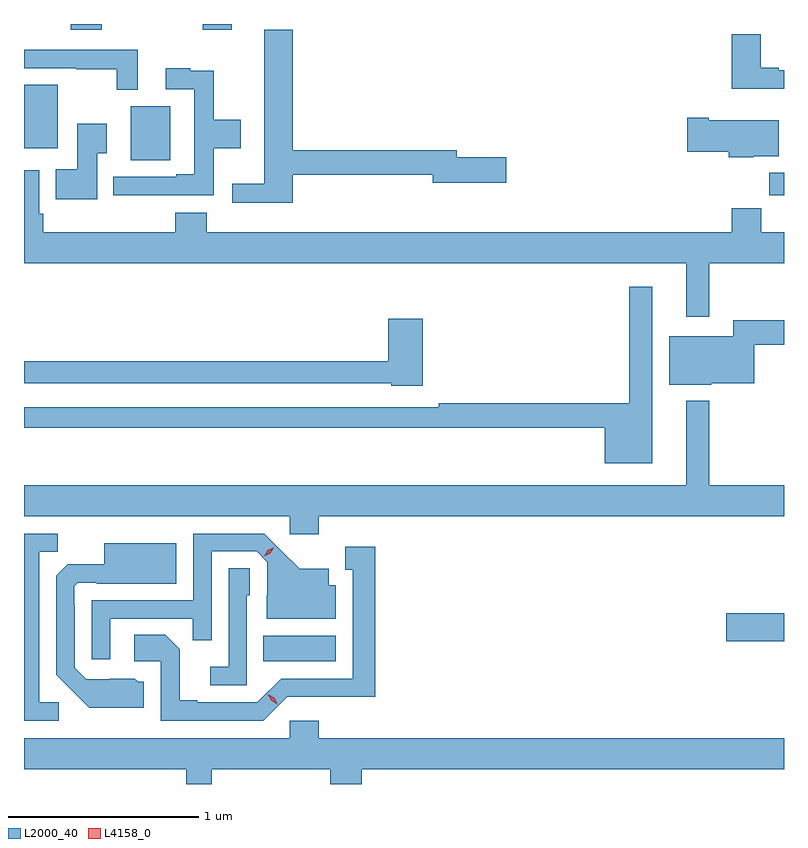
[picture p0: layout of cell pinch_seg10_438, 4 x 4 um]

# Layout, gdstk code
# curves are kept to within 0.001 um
import gdstk
lib = gdstk.Library(unit=1e-6, precision=1e-09)
def R(c, l, rs):  # rectangles x0, y0, x1, y1
    for r in rs: c.add(gdstk.rectangle(r[:2], r[2:], *l))
def P(c, l, *ps):  # polygons
    for p in ps: c.add(gdstk.Polygon(p, *l))
L2000_40 = (2000, 40)
L4158_0 = (4158, 0)

pinch_seg10_438 = lib.new_cell('pinch_seg10_438')
R(pinch_seg10_438, L2000_40, [(336.058,1299.554,336.442,1299.688), (338.496,1299.659,338.8,1299.806), (338.722,1302.006,338.8,1302.124), (335.363,1302.191,335.569,1302.475), (334.8,1302.254,334.978,1302.586), (335.045,1302.878,335.21,1302.907), (335.741,1302.878,335.893,1302.907)])
P(pinch_seg10_438, L2000_40, [(336.215,1302.114),(336.95,1302.114),(336.95,1302.071),(337.339,1302.071),(337.339,1302.206),(337.078,1302.206),(337.078,1302.242),(336.215,1302.242),(336.215,1302.877),(336.065,1302.877),(336.065,1302.065),(335.895,1302.065),(335.895,1301.966),(336.215,1301.966)],
  [(338.8,1302.663),(338.773,1302.663),(338.773,1302.676),(338.677,1302.676),(338.677,1302.853),(338.525,1302.853),(338.525,1302.566),(338.8,1302.566)],
  [(335.398,1302.771),(334.8,1302.771),(334.8,1302.675),(335.074,1302.675),(335.074,1302.67),(335.289,1302.67),(335.289,1302.56),(335.398,1302.56)],
  [(335.513,1302.006),(335.798,1302.006),(335.798,1302.254),(335.941,1302.254),(335.941,1302.402),(335.798,1302.402),(335.798,1302.662),(335.675,1302.662),(335.675,1302.673),(335.547,1302.673),(335.547,1302.564),(335.697,1302.564),(335.697,1302.115),(335.6,1302.115),(335.6,1302.102),(335.271,1302.102),(335.271,1302.005),(335.513,1302.005)],
  [(338.64,1302.212),(338.773,1302.212),(338.773,1302.4),(338.404,1302.4),(338.404,1302.413),(338.292,1302.413),(338.292,1302.235),(338.51,1302.235),(338.51,1302.206),(338.64,1302.206)],
  [(335.185,1302.226),(335.236,1302.226),(335.236,1302.382),(335.081,1302.382),(335.081,1302.142),(334.966,1302.142),(334.966,1301.984),(335.185,1301.984)],
  [(338.407,1301.648),(338.8,1301.648),(338.8,1301.812),(338.681,1301.812),(338.681,1301.936),(338.525,1301.936),(338.525,1301.812),(335.762,1301.812),(335.762,1301.914),(335.597,1301.914),(335.597,1301.812),(334.901,1301.812),(334.901,1301.908),(334.881,1301.908),(334.881,1302.136),(334.8,1302.136),(334.8,1301.648),(338.285,1301.648),(338.285,1301.367),(338.407,1301.367)],
  [(338.107,1301.524),(337.986,1301.524),(337.986,1300.91),(336.982,1300.91),(336.982,1300.89),(334.8,1300.89),(334.8,1300.782),(337.856,1300.782),(337.856,1300.595),(338.107,1300.595)],
  [(336.899,1301.356),(336.716,1301.356),(336.716,1301.132),(334.8,1301.132),(334.8,1301.016),(336.732,1301.016),(336.732,1301.003),(336.899,1301.003)],
  [(338.418,1301.015),(338.644,1301.015),(338.644,1301.218),(338.8,1301.218),(338.8,1301.347),(338.534,1301.347),(338.534,1301.263),(338.195,1301.263),(338.195,1301.009),(338.418,1301.009)],
  [(336.35,1300.316),(338.8,1300.316),(338.8,1300.48),(338.407,1300.48),(338.407,1300.924),(338.285,1300.924),(338.285,1300.48),(334.8,1300.48),(334.8,1300.316),(336.198,1300.316),(336.198,1300.221),(336.35,1300.221)],
  [(335.253,1299.777),(335.689,1299.777),(335.689,1299.664),(335.787,1299.664),(335.787,1300.131),(336.024,1300.131),(336.081,1300.074),(336.081,1299.9),(336.077,1299.9),(336.077,1299.776),(336.442,1299.776),(336.442,1299.952),(336.403,1299.952),(336.403,1300.039),(336.251,1300.039),(336.064,1300.224),(335.691,1300.224),(335.691,1299.873),(335.157,1299.873),(335.157,1299.564),(335.253,1299.564)],
  [(334.984,1299.336),(334.881,1299.336),(334.881,1300.129),(334.977,1300.129),(334.977,1300.224),(334.8,1300.224),(334.8,1299.24),(334.984,1299.24)],
  [(335.431,1299.444),(335.4,1299.444),(335.384,1299.46),(335.127,1299.459),(335.067,1299.519),(335.067,1299.848),(335.064,1299.848),(335.064,1299.948),(335.082,1299.966),(335.182,1299.966),(335.182,1299.962),(335.602,1299.962),(335.602,1300.174),(335.222,1300.174),(335.222,1300.063),(335.03,1300.063),(334.971,1300.004),(334.971,1299.482),(335.143,1299.308),(335.431,1299.308)],
  [(336.186,1299.366),(336.649,1299.365),(336.649,1300.156),(336.491,1300.156),(336.491,1300.035),(336.53,1300.035),(336.53,1299.462),(336.153,1299.462),(336.027,1299.336),(335.713,1299.336),(335.713,1299.349),(335.619,1299.349),(335.619,1299.616),(335.543,1299.692),(335.379,1299.692),(335.379,1299.552),(335.52,1299.552),(335.52,1299.24),(336.06,1299.24)],
  [(335.973,1299.9),(335.988,1299.9),(335.988,1300.043),(335.877,1300.043),(335.877,1299.523),(335.781,1299.523),(335.781,1299.426),(335.973,1299.426)],
  [(335.789,1298.984),(336.413,1298.984),(336.413,1298.907),(336.578,1298.907),(336.578,1298.984),(338.8,1298.984),(338.8,1299.148),(336.35,1299.148),(336.35,1299.241),(336.198,1299.241),(336.198,1299.148),(334.8,1299.148),(334.8,1298.984),(335.653,1298.984),(335.653,1298.907),(335.789,1298.907)])
P(pinch_seg10_438, L4158_0, [(336.133,1299.327),(336.101,1299.347),(336.084,1299.379),(336.084,1299.38),(336.084,1299.38),(336.116,1299.36),(336.134,1299.328),(336.134,1299.327)],
  [(336.064,1300.107),(336.064,1300.107),(336.082,1300.136),(336.113,1300.151),(336.114,1300.151),(336.114,1300.151),(336.096,1300.121),(336.064,1300.107)])

lib.write_gds('pinch_seg10_438.gds')
